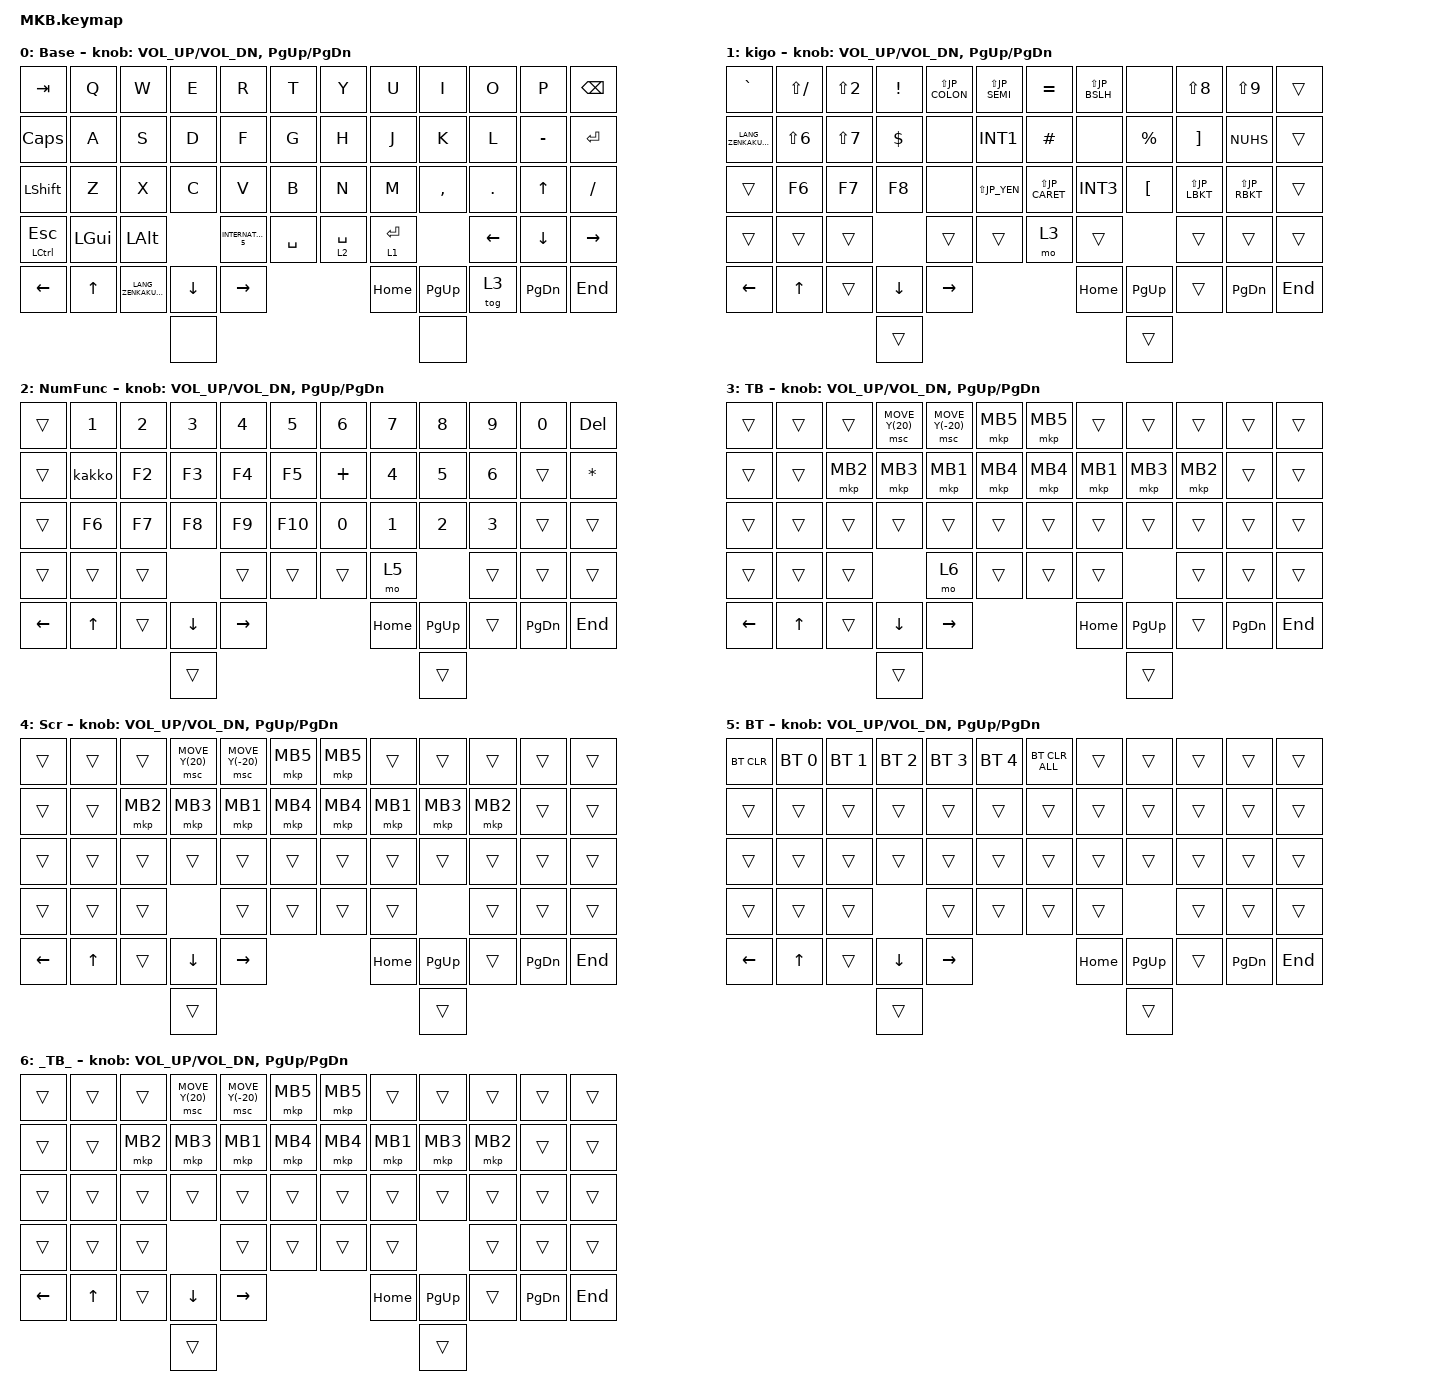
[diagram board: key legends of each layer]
// #include <layout_shift.dtsi>

#include <layout_shift_kp_override.dtsi>
#include <behaviors.dtsi>
#include <dt-bindings/zmk/bt.h>
#include <dt-bindings/zmk/keys.h>
#include <dt-bindings/zmk/pointing.h>

#define DEF 0
#define FUNC 1
#define NUM 2
#define MOUSE 3
#define SCROLL 4
#define BT 5
#define MOUSE_LOW 6

#define JP_MINUS MINUS        // -
#define JP_CARET EQUAL        // ^
#define JP_YEN   INT3         // ¥
#define JP_AT    LBKT         // @
#define JP_LBKT  RBKT         // [
#define JP_EISU  CAPS         // Eisū (英数)
#define JP_SEMI  SEMI         // ;
#define JP_COLON SQT          // :
#define JP_RBKT  NUHS         // ]
#define JP_COMMA COMMA        // ,
#define JP_DOT   DOT          // .
#define JP_SLASH SLASH        // /
#define JP_BSLH  INT1         // (backslash)
#define JP_MHEN  INT5         // Muhenkan (無変換)
#define JP_HENK  INT4         // Henkan (変換)
#define JP_KANA  INT2         // Katakana ↔ Hiragana ↔ Rōmaji (カタカナ ↔ ひらがな ↔ ローマ字)
#define JP_EXCL  LS(N1)       // !
#define JP_DQT   LS(N2)       // "
#define JP_HASH  LS(N3)       // #
#define JP_DLLR  LS(N4)       // $
#define JP_PRCNT LS(N5)       // %
#define JP_AMPS  LS(N6)       // &
#define JP_SQT   LS(N7)       // '
#define JP_LPAR  LS(N8)       // (
#define JP_RPAR  LS(N9)       // )
#define JP_EQUAL LS(JP_MINUS) // =
#define JP_TILDE LS(JP_CARET) // ~
#define JP_PIPE  LS(JP_YEN)   // |
#define JP_GRAVE LS(JP_AT)    // `
#define JP_LBRC  LS(JP_LBKT)  // {
#define JP_CAPS  LS(JP_EISU)  // Caps Lock
#define JP_PLUS  LS(JP_SEMI)  // +
#define JP_ASTRK LS(JP_COLON) // *
#define JP_RBRC  LS(JP_RBKT)  // }
#define JP_LT    LS(JP_COMMA) // <
#define JP_RT    LS(JP_DOT)   // >
#define JP_QMARK LS(JP_SLASH) // ?
#define JP_UNDER LS(JP_BSLH)  // _

&mt {
    flavor = "balanced";
    tapping-term-ms = <280>;
    quick-tap-ms = <175>;
    require-prior-idle-ms = <150>;
};

/ {
    combos {
        compatible = "zmk,combos";

        mouse_Layer {
            bindings = <&tog MOUSE>;
            key-positions = <39 40>;
        };

        bt_Layer {
            bindings = <&mo BT>;
            key-positions = <40 39 29>;
        };
    };

    macros {
        kakko: kakko {
            compatible = "zmk,behavior-macro";
            #binding-cells = <0>;
            bindings = <&kp LEFT_PARENTHESIS &kp RIGHT_PARENTHESIS &kp LEFT>;
            label = "KAKKO";
        };
    };

    keymap {
        compatible = "zmk,keymap";

        default_layer {
            label = "Base";
            bindings = <
&kp TAB        &kp Q     &kp W                    &kp E     &kp R                &kp T          &kp Y        &kp U        &kp I      &kp O     &kp P      &kp BACKSPACE
&kp CAPSLOCK   &kp A     &kp S                    &kp D     &kp F                &kp G          &kp H        &kp J        &kp K      &kp L     &kp MINUS  &kp ENTER
&kp LSHFT      &kp Z     &kp X                    &kp C     &kp V                &kp B          &kp N        &kp M        &kp COMMA  &kp DOT   &kp UP     &kp FSLH
&mt LCTRL ESC  &kp LGUI  &kp LALT                           &kp INTERNATIONAL_5  &kp SPACE      &lt 2 SPACE  &lt 1 ENTER             &kp LEFT  &kp DOWN   &kp RIGHT
&kp LEFT       &kp UP    &kp LANG_ZENKAKUHANKAKU  &kp DOWN  &kp RIGHT                                        &kp HOME     &kp PG_UP  &tog 3    &kp PG_DN  &kp END
                                                  &none                                                                   &none
            >;

            sensor-bindings = <&inc_dec_kp C_VOL_UP C_VOL_DN &inc_dec_kp PG_UP PG_DN>;
        };

        function_layer {
            label = "kigo";
            bindings = <
&kp GRAVE                &kp LS(SLASH)  &kp JP_DQT  &kp EXCLAMATION  &kp JP_ASTRK  &kp JP_PLUS      &kp JP_CARET  &kp JP_UNDER  &none        &kp JP_LPAR  &kp JP_RPAR  &trans
&kp LANG_ZENKAKUHANKAKU  &kp JP_AMPS    &kp JP_SQT  &kp DOLLAR       &none         &kp JP_BSLH      &kp HASH      &none         &kp PERCENT  &kp JP_LBKT  &kp JP_RBKT  &trans
&trans                   &kp F6         &kp F7      &kp F8           &none         &kp JP_PIPE      &kp JP_TILDE  &kp JP_YEN    &kp JP_AT  &kp JP_LBRC  &kp JP_RBRC  &trans
&trans                   &trans         &trans                       &trans        &trans           &mo 3        &trans                     &trans       &trans       &trans
&kp LEFT                 &kp UP         &trans      &kp DOWN         &kp RIGHT                                    &kp HOME      &kp PG_UP    &trans       &kp PG_DN    &kp END
                                                    &trans                                                                      &trans
            >;

            sensor-bindings = <&inc_dec_kp C_VOL_UP C_VOL_DN &inc_dec_kp PG_UP PG_DN>;
        };

        num_layer {
            label = "NumFunc";
            bindings = <
&trans    &kp N1  &kp N2  &kp N3    &kp N4     &kp N5       &kp N6    &kp N7        &kp N8        &kp N9        &kp N0     &kp DELETE
&trans    &kakko  &kp F2  &kp F3    &kp F4     &kp F5       &kp PLUS  &kp NUMBER_4  &kp NUMBER_5  &kp NUMBER_6  &trans     &kp ASTERISK
&trans    &kp F6  &kp F7  &kp F8    &kp F9     &kp F10      &kp N0    &kp NUMBER_1  &kp NUMBER_2  &kp NUMBER_3  &trans     &trans
&trans    &trans  &trans            &trans     &trans       &trans     &mo 5                      &trans        &trans     &trans
&kp LEFT  &kp UP  &trans  &kp DOWN  &kp RIGHT                         &kp HOME      &kp PG_UP     &trans        &kp PG_DN  &kp END
                          &trans                                                    &trans
            >;

            sensor-bindings = <&inc_dec_kp C_VOL_UP C_VOL_DN &inc_dec_kp PG_UP PG_DN>;
        };

        mouse_layer {
            label = " TB ";
            bindings = <
&trans    &trans  &trans    &msc MOVE_Y(20)  &msc MOVE_Y(-20)  &mkp MB5      &mkp MB5  &trans    &trans     &trans    &trans     &trans
&trans    &trans  &mkp MB2  &mkp MB3         &mkp MB1          &mkp MB4      &mkp MB4  &mkp MB1  &mkp MB3   &mkp MB2  &trans     &trans
&trans    &trans  &trans    &trans           &trans            &trans        &trans    &trans    &trans     &trans    &trans     &trans
&trans    &trans  &trans                     &mo 6            &trans        &trans    &trans               &trans    &trans     &trans
&kp LEFT  &kp UP  &trans    &kp DOWN         &kp RIGHT                                 &kp HOME  &kp PG_UP  &trans    &kp PG_DN  &kp END
                            &trans                                                               &trans
            >;

            sensor-bindings = <&inc_dec_kp C_VOL_UP C_VOL_DN &inc_dec_kp PG_UP PG_DN>;
        };

        scroll_layer {
            label = "Scr";
            bindings = <
&trans    &trans  &trans    &msc MOVE_Y(20)  &msc MOVE_Y(-20)  &mkp MB5      &mkp MB5  &trans    &trans     &trans    &trans     &trans
&trans    &trans  &mkp MB2  &mkp MB3         &mkp MB1          &mkp MB4      &mkp MB4  &mkp MB1  &mkp MB3   &mkp MB2  &trans     &trans
&trans    &trans  &trans    &trans           &trans            &trans        &trans    &trans    &trans     &trans    &trans     &trans
&trans    &trans  &trans                     &trans            &trans        &trans    &trans               &trans    &trans     &trans
&kp LEFT  &kp UP  &trans    &kp DOWN         &kp RIGHT                                 &kp HOME  &kp PG_UP  &trans    &kp PG_DN  &kp END
                            &trans                                                               &trans
            >;

            sensor-bindings = <&inc_dec_kp C_VOL_UP C_VOL_DN &inc_dec_kp PG_UP PG_DN>;
        };

        bt_layer {
            label = "BT";
            bindings = <
&bt BT_CLR  &bt BT_SEL 0  &bt BT_SEL 1  &bt BT_SEL 2  &bt BT_SEL 3  &bt BT_SEL 4      &bt BT_CLR_ALL  &trans    &trans     &trans  &trans     &trans
&trans      &trans        &trans        &trans        &trans        &trans            &trans          &trans    &trans     &trans  &trans     &trans
&trans      &trans        &trans        &trans        &trans        &trans            &trans          &trans    &trans     &trans  &trans     &trans
&trans      &trans        &trans                      &trans        &trans            &trans          &trans               &trans  &trans     &trans
&kp LEFT    &kp UP        &trans        &kp DOWN      &kp RIGHT                                       &kp HOME  &kp PG_UP  &trans  &kp PG_DN  &kp END
                                        &trans                                                                  &trans
            >;

            sensor-bindings = <&inc_dec_kp C_VOL_UP C_VOL_DN &inc_dec_kp PG_UP PG_DN>;
        };

        mouse_low_layer {
            label = "_TB_";
            bindings = <
&trans    &trans  &trans    &msc MOVE_Y(20)  &msc MOVE_Y(-20)  &mkp MB5      &mkp MB5  &trans    &trans     &trans    &trans     &trans
&trans    &trans  &mkp MB2  &mkp MB3         &mkp MB1          &mkp MB4      &mkp MB4  &mkp MB1  &mkp MB3   &mkp MB2  &trans     &trans
&trans    &trans  &trans    &trans           &trans            &trans        &trans    &trans    &trans     &trans    &trans     &trans
&trans    &trans  &trans                     &trans            &trans        &trans    &trans               &trans    &trans     &trans
&kp LEFT  &kp UP  &trans    &kp DOWN         &kp RIGHT                                 &kp HOME  &kp PG_UP  &trans    &kp PG_DN  &kp END
                            &trans                                                               &trans
            >;

            sensor-bindings = <&inc_dec_kp C_VOL_UP C_VOL_DN &inc_dec_kp PG_UP PG_DN>;
        };
    };
};
